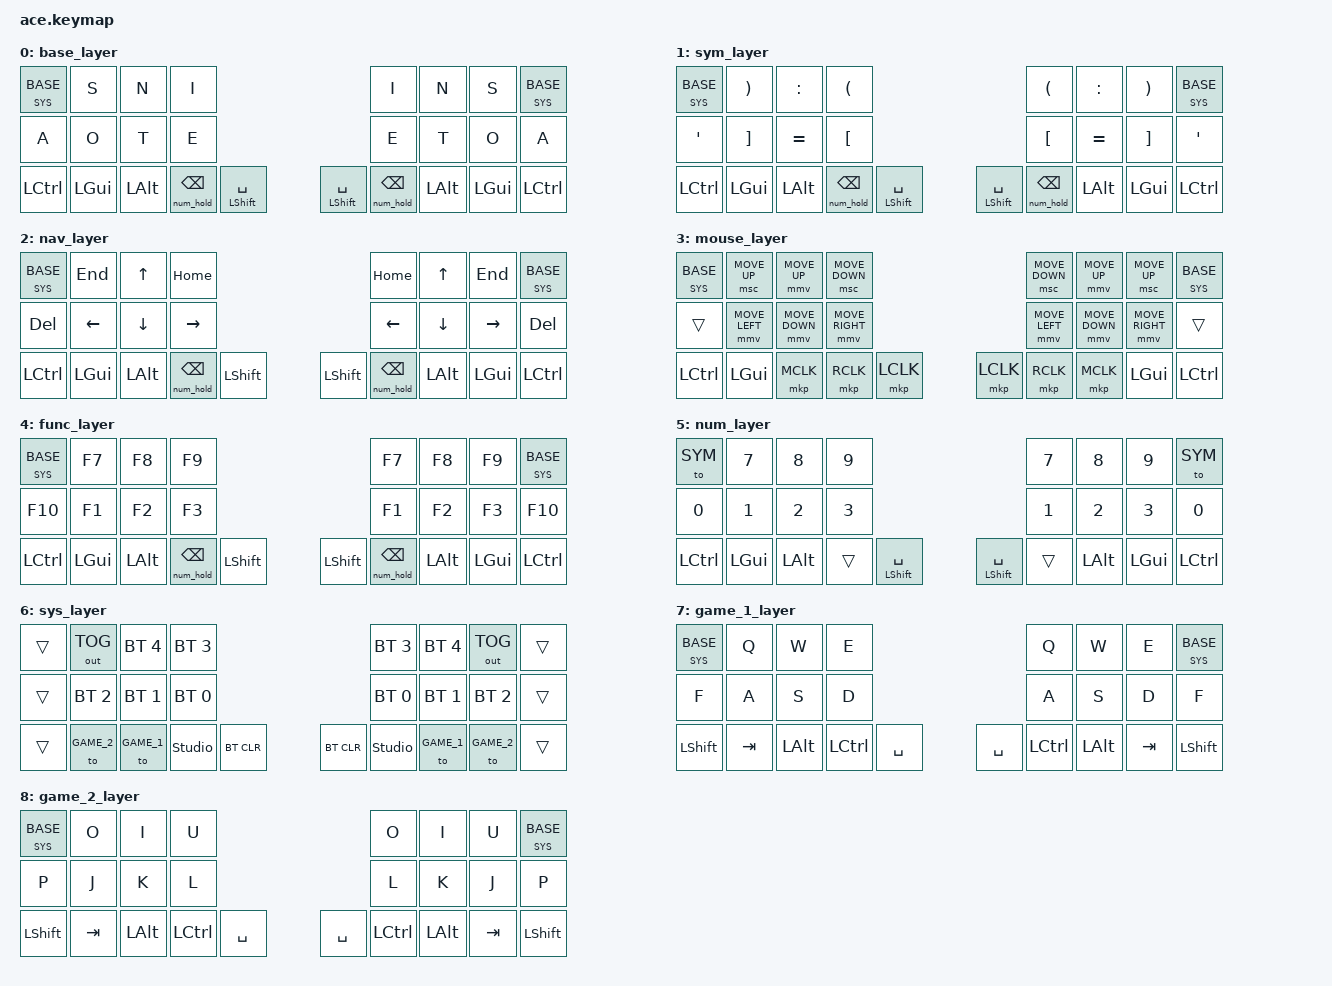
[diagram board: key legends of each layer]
/*
 * ACE standalone 13-key controller keymap.
 *
 * Left build uses positions L0..L12.
 * Right build keeps col-offset and uses positions R0..R12.
 */
#include <behaviors.dtsi>
#include <dt-bindings/zmk/bt.h>
#include <dt-bindings/zmk/keys.h>
#include <dt-bindings/zmk/outputs.h>
#include <dt-bindings/zmk/pointing.h>

#define BASE 0
#define SYM 1
#define NAV 2
#define MOUSE 3
#define FUNC 4
#define NUM 5
#define SYS 6
#define GAME_1 7
#define GAME_2 8

#define COMBO_TIMEOUT 33
#define ONESHOT_TIMEOUT 1000

#define ZMK_POINTING_DEFAULT_MOVE_VAL 800
#define ZMK_POINTING_DEFAULT_SCRL_VAL 3

#define GLOBAL_COMBO_LAYERS BASE SYM NAV MOUSE FUNC SYS

&mmv {
    time-to-max-speed-ms = <300>;
    acceleration-exponent = <1>;
};

&msc {
    time-to-max-speed-ms = <500>;
    acceleration-exponent = <1>;
};

&sk {
    release-after-ms = <ONESHOT_TIMEOUT>;
    quick-release;
};

#define L0 0
#define L1 1
#define L2 2
#define L3 3
#define L4 4
#define L5 5
#define L6 6
#define L7 7
#define L8 8
#define L9 9
#define L10 10
#define L11 11
#define L12 12

#define R0 13
#define R1 14
#define R2 15
#define R3 16
#define R4 17
#define R5 18
#define R6 19
#define R7 20
#define R8 21
#define R9 22
#define R10 23
#define R11 24
#define R12 25

/ {
    behaviors {
        k0_sys: k0_sys {
            compatible = "zmk,behavior-hold-tap";
            #binding-cells = <2>;
            flavor = "tap-preferred";
            tapping-term-ms = <180>;
            quick-tap-ms = <0>;
            bindings = <&mo>, <&panic_base>;
        };

        kt_off: key_toggle_off {
            compatible = "zmk,behavior-key-toggle";
            #binding-cells = <1>;
            toggle-mode = "off";
        };

        num_bspc: num_bspc {
            compatible = "zmk,behavior-hold-tap";
            #binding-cells = <2>;
            flavor = "tap-preferred";
            tapping-term-ms = <180>;
            quick-tap-ms = <0>;
            bindings = <&num_hold>, <&kp>;
        };
    };

    macros {
        num_hold: num_hold {
            compatible = "zmk,behavior-macro-one-param";
            #binding-cells = <1>;
            wait-ms = <0>;
            tap-ms = <0>;
            bindings
                = <&macro_press &mo NUM>
                , <&macro_pause_for_release>
                , <&macro_release &mo NUM>
                , <&macro_tap &to BASE>
                ;
        };

        panic_base: panic_base {
            compatible = "zmk,behavior-macro-one-param";
            #binding-cells = <1>;
            wait-ms = <0>;
            tap-ms = <0>;
            bindings
                = <&kt_off LEFT_CONTROL>
                , <&kt_off LEFT_GUI>
                , <&kt_off LEFT_ALT>
                , <&kt_off LEFT_SHIFT>
                , <&macro_param_1to1>
                , <&macro_tap &to MACRO_PLACEHOLDER>
                ;
        };
    };

    #define TCOMBO(NAME, BINDINGS, LEFT_KEYPOS, RIGHT_KEYPOS, ACTIVE_LAYERS) \
    combo_l_##NAME { \
        timeout-ms = <COMBO_TIMEOUT>; \
        bindings = <BINDINGS>; \
        key-positions = <LEFT_KEYPOS>; \
        layers = <ACTIVE_LAYERS>; \
        slow-release; \
    }; \
    combo_r_##NAME { \
        timeout-ms = <COMBO_TIMEOUT>; \
        bindings = <BINDINGS>; \
        key-positions = <RIGHT_KEYPOS>; \
        layers = <ACTIVE_LAYERS>; \
        slow-release; \
    };

    combos {
        compatible = "zmk,combos";

        TCOMBO(tab, &kp TAB, L3 L2 L1, R3 R2 R1, GLOBAL_COMBO_LAYERS)
        TCOMBO(enter, &kp ENTER, L7 L6 L5, R7 R6 R5, GLOBAL_COMBO_LAYERS)
        TCOMBO(esc, &kp ESC, L6 L5 L4, R6 R5 R4, GLOBAL_COMBO_LAYERS)

        TCOMBO(access_nav, &to NAV, L12 L0, R12 R0, GLOBAL_COMBO_LAYERS)
        TCOMBO(access_mouse, &to MOUSE, L11 L0, R11 R0, GLOBAL_COMBO_LAYERS)
        TCOMBO(access_func, &to FUNC, L10 L0, R10 R0, GLOBAL_COMBO_LAYERS)
        TCOMBO(oneshot_ctrl, &sk LEFT_CONTROL, L11 L8, R11 R8, GLOBAL_COMBO_LAYERS)
        TCOMBO(oneshot_gui, &sk LEFT_GUI, L11 L9, R11 R9, GLOBAL_COMBO_LAYERS)
        TCOMBO(oneshot_alt, &sk LEFT_ALT, L11 L10, R11 R10, GLOBAL_COMBO_LAYERS)
        TCOMBO(latch_ctrl, &kt LEFT_CONTROL, L12 L8, R12 R8, GLOBAL_COMBO_LAYERS)
        TCOMBO(latch_gui, &kt LEFT_GUI, L12 L9, R12 R9, GLOBAL_COMBO_LAYERS)
        TCOMBO(latch_alt, &kt LEFT_ALT, L12 L10, R12 R10, GLOBAL_COMBO_LAYERS)

        TCOMBO(alpha_d, &kp D, L3 L7, R3 R7, BASE)
        TCOMBO(alpha_l, &kp L, L2 L6, R2 R6, BASE)
        TCOMBO(alpha_b, &kp B, L1 L5, R1 R5, BASE)
        TCOMBO(alpha_r, &kp R, L2 L3, R2 R3, BASE)
        TCOMBO(alpha_c, &kp C, L1 L2, R1 R2, BASE)
        TCOMBO(alpha_h, &kp H, L6 L7, R6 R7, BASE)
        TCOMBO(alpha_u, &kp U, L5 L6, R5 R6, BASE)
        TCOMBO(alpha_m, &kp M, L3 L1, R3 R1, BASE)
        TCOMBO(alpha_w, &kp W, L7 L5, R7 R5, BASE)
        TCOMBO(alpha_z, &kp Z, L1 L7, R1 R7, BASE)
        TCOMBO(alpha_x, &kp X, L3 L5, R3 R5, BASE)
        TCOMBO(alpha_p, &kp P, L7 L2, R7 R2, BASE)
        TCOMBO(alpha_g, &kp G, L5 L2, R5 R2, BASE)
        TCOMBO(alpha_f, &kp F, L6 L3, R6 R3, BASE)
        TCOMBO(alpha_y, &kp Y, L4 L5, R4 R5, BASE)
        TCOMBO(alpha_v, &kp V, L6 L1, R6 R1, BASE)
        TCOMBO(alpha_q, &kp Q, L4 L3, R4 R3, BASE)
        TCOMBO(alpha_j, &kp J, L7 L4, R4 R7, BASE)
        TCOMBO(alpha_k, &kp K, L4 L1, R4 R1, BASE)

        TCOMBO(num_4, &kp N4, L3 L7, R3 R7, NUM)
        TCOMBO(num_5, &kp N5, L2 L6, R2 R6, NUM)
        TCOMBO(num_6, &kp N6, L1 L5, R1 R5, NUM)
        TCOMBO(num_plus, &kp PLUS, L2 L3, R2 R3, NUM)
        TCOMBO(num_minus, &kp MINUS, L1 L2, R1 R2, NUM)
        TCOMBO(num_star, &kp STAR, L6 L7, R6 R7, NUM)
        TCOMBO(num_slash, &kp FSLH, L5 L6, R5 R6, NUM)
        TCOMBO(num_comma, &kp COMMA, L4 L3, R4 R3, NUM)
        TCOMBO(num_dot, &kp DOT, L4 L5, R4 R5, NUM)
        TCOMBO(num_semi, &kp SEMI, L4 L7, R4 R7, NUM)
        TCOMBO(num_colon, &kp COLON, L7 L5, R7 R5, NUM)
        TCOMBO(num_equal, &kp EQUAL, L1 L3, R1 R3, NUM)
        TCOMBO(num_percent, &kp PRCNT, L1 L7, R1 R7, NUM)
        TCOMBO(num_caret, &kp CARET, L3 L5, R3 R5, NUM)
        TCOMBO(num_lt, &kp LT, L5 L2, R5 R2, NUM)
        TCOMBO(num_gt, &kp GT, L1 L6, R1 R6, NUM)
        TCOMBO(num_lpar, &kp LPAR, L7 L2, R7 R2, NUM)
        TCOMBO(num_rpar, &kp RPAR, L6 L3, R6 R3, NUM)
        TCOMBO(num_under, &kp UNDER, L4 L1, R4 R1, NUM)

        TCOMBO(sym_semi, &kp SEMI, L2 L6, R2 R6, SYM)
        TCOMBO(sym_slash, &kp FSLH, L7 L2, R7 R2, SYM)
        TCOMBO(sym_bslash, &kp BSLH, L6 L3, R6 R3, SYM)
        TCOMBO(sym_lt, &kp LT, L2 L3, R2 R3, SYM)
        TCOMBO(sym_gt, &kp GT, L1 L2, R1 R2, SYM)
        TCOMBO(sym_lbrace, &kp LBRC, L6 L7, R6 R7, SYM)
        TCOMBO(sym_rbrace, &kp RBRC, L5 L6, R5 R6, SYM)
        TCOMBO(sym_dquote, &kp DQT, L4 L5, R4 R5, SYM)
        TCOMBO(sym_grave, &kp GRAVE, L4 L1, R4 R1, SYM)
        TCOMBO(sym_under, &kp UNDER, L5 L7, R5 R7, SYM)
        TCOMBO(sym_minus, &kp MINUS, L3 L1, R3 R1, SYM)
        TCOMBO(sym_pipe, &kp PIPE, L3 L7, R3 R7, SYM)
        TCOMBO(sym_amp, &kp AMPS, L1 L5, R1 R5, SYM)
        TCOMBO(sym_exclaim, &kp EXCL, L1 L7, R1 R7, SYM)
        TCOMBO(sym_qmark, &kp QMARK, L3 L5, R3 R5, SYM)
        TCOMBO(sym_hash, &kp HASH, L5 L2, R5 R2, SYM)
        TCOMBO(sym_at, &kp AT, L1 L6, R1 R6, SYM)
        TCOMBO(sym_dollar, &kp DLLR, L3 L4, R3 R4, SYM)

        TCOMBO(func_f4, &kp F4, L3 L7, R3 R7, FUNC)
        TCOMBO(func_f5, &kp F5, L2 L6, R2 R6, FUNC)
        TCOMBO(func_f6, &kp F6, L1 L5, R1 R5, FUNC)
        TCOMBO(func_f11, &kp F11, L4 L7, R4 R7, FUNC)
        TCOMBO(func_f12, &kp F12, L4 L5, R4 R5, FUNC)
        TCOMBO(func_media_prev, &kp C_PREV, L3 L2, R3 R2, FUNC)
        TCOMBO(func_media_next, &kp C_NEXT, L2 L1, R2 R1, FUNC)
        TCOMBO(func_media_vol_down, &kp C_VOL_DN, L7 L6, R7 R6, FUNC)
        TCOMBO(func_media_vol_up, &kp C_VOL_UP, L6 L5, R6 R5, FUNC)
        TCOMBO(func_media_mute, &kp C_MUTE, L1 L7, R1 R7, FUNC)

        TCOMBO(mouse_btn4, &mkp MB4, L4 L1, R4 R1, MOUSE)
        TCOMBO(mouse_btn5, &mkp MB5, L4 L3, R4 R3, MOUSE)
    };

    keymap {
        compatible = "zmk,keymap";

        base_layer {
            bindings = <
                &k0_sys SYS BASE &kp S       &kp N       &kp I
                &kp A            &kp O       &kp T       &kp E
                &kp LEFT_CONTROL &kp LEFT_GUI &kp LEFT_ALT &num_bspc 0 BSPC &mt LEFT_SHIFT SPACE

                &k0_sys SYS BASE &kp S       &kp N       &kp I
                &kp A            &kp O       &kp T       &kp E
                &kp LEFT_CONTROL &kp LEFT_GUI &kp LEFT_ALT &num_bspc 0 BSPC &mt LEFT_SHIFT SPACE
            >;
        };

        sym_layer {
            bindings = <
                &k0_sys SYS BASE &kp RPAR    &kp COLON   &kp LPAR
                &kp SQT          &kp RBKT    &kp EQUAL   &kp LBKT
                &kp LEFT_CONTROL &kp LEFT_GUI &kp LEFT_ALT &num_bspc 0 BSPC &mt LEFT_SHIFT SPACE

                &k0_sys SYS BASE &kp RPAR    &kp COLON   &kp LPAR
                &kp SQT          &kp RBKT    &kp EQUAL   &kp LBKT
                &kp LEFT_CONTROL &kp LEFT_GUI &kp LEFT_ALT &num_bspc 0 BSPC &mt LEFT_SHIFT SPACE
            >;
        };

        nav_layer {
            bindings = <
                &k0_sys SYS BASE &kp END     &kp UP      &kp HOME
                &kp DEL          &kp LEFT    &kp DOWN    &kp RIGHT
                &kp LEFT_CONTROL &kp LEFT_GUI &kp LEFT_ALT &num_bspc 0 BSPC &kp LEFT_SHIFT

                &k0_sys SYS BASE &kp END     &kp UP      &kp HOME
                &kp DEL          &kp RIGHT   &kp DOWN    &kp LEFT
                &kp LEFT_CONTROL &kp LEFT_GUI &kp LEFT_ALT &num_bspc 0 BSPC &kp LEFT_SHIFT
            >;
        };

        mouse_layer {
            bindings = <
                &k0_sys SYS BASE &msc MOVE_UP   &mmv MOVE_UP   &msc MOVE_DOWN
                &trans           &mmv MOVE_LEFT &mmv MOVE_DOWN &mmv MOVE_RIGHT
                &kp LEFT_CONTROL &kp LEFT_GUI   &mkp MCLK      &mkp RCLK     &mkp LCLK

                &k0_sys SYS BASE &msc MOVE_UP    &mmv MOVE_UP   &msc MOVE_DOWN
                &trans           &mmv MOVE_RIGHT &mmv MOVE_DOWN &mmv MOVE_LEFT
                &kp LEFT_CONTROL &kp LEFT_GUI    &mkp MCLK      &mkp RCLK     &mkp LCLK
            >;
        };

        func_layer {
            bindings = <
                &k0_sys SYS BASE &kp F7      &kp F8      &kp F9
                &kp F10          &kp F1      &kp F2      &kp F3
                &kp LEFT_CONTROL &kp LEFT_GUI &kp LEFT_ALT &num_bspc 0 BSPC &kp LEFT_SHIFT

                &k0_sys SYS BASE &kp F9      &kp F8      &kp F7
                &kp F10          &kp F3      &kp F2      &kp F1
                &kp LEFT_CONTROL &kp LEFT_GUI &kp LEFT_ALT &num_bspc 0 BSPC &kp LEFT_SHIFT
            >;
        };

        num_layer {
            bindings = <
                &to SYM         &kp N7      &kp N8      &kp N9
                &kp N0           &kp N1      &kp N2      &kp N3
                &kp LEFT_CONTROL &kp LEFT_GUI &kp LEFT_ALT &trans      &mt LEFT_SHIFT SPACE

                &to SYM         &kp N9      &kp N8      &kp N7
                &kp N0           &kp N3      &kp N2      &kp N1
                &kp LEFT_CONTROL &kp LEFT_GUI &kp LEFT_ALT &trans      &mt LEFT_SHIFT SPACE
            >;
        };

        sys_layer {
            bindings = <
                &trans          &out OUT_TOG &bt BT_SEL 4 &bt BT_SEL 3
                &trans          &bt BT_SEL 2 &bt BT_SEL 1 &bt BT_SEL 0
                &trans          &to GAME_2   &to GAME_1   &studio_unlock &bt BT_CLR

                &trans          &out OUT_TOG &bt BT_SEL 4 &bt BT_SEL 3
                &trans          &bt BT_SEL 2 &bt BT_SEL 1 &bt BT_SEL 0
                &trans          &to GAME_2   &to GAME_1   &studio_unlock &bt BT_CLR
            >;
        };

        game_1_layer {
            bindings = <
                &k0_sys SYS BASE &kp Q       &kp W       &kp E
                &kp F            &kp A       &kp S       &kp D
                &kp LEFT_SHIFT        &kp TAB     &kp LEFT_ALT &kp LEFT_CONTROL &kp SPACE

                &k0_sys SYS BASE &kp E       &kp W       &kp Q
                &kp F            &kp D       &kp S       &kp A
                &kp LEFT_SHIFT        &kp TAB     &kp LEFT_ALT &kp LEFT_CONTROL &kp SPACE
            >;
        };

        game_2_layer {
            bindings = <
                &k0_sys SYS BASE &kp O       &kp I       &kp U
                &kp P            &kp J       &kp K       &kp L
                &kp LEFT_SHIFT        &kp TAB     &kp LEFT_ALT &kp LEFT_CONTROL &kp SPACE

                &k0_sys SYS BASE &kp U       &kp I       &kp O
                &kp P            &kp J       &kp K       &kp L
                &kp LEFT_SHIFT        &kp TAB     &kp LEFT_ALT &kp LEFT_CONTROL &kp SPACE
            >;
        };
    };
};
